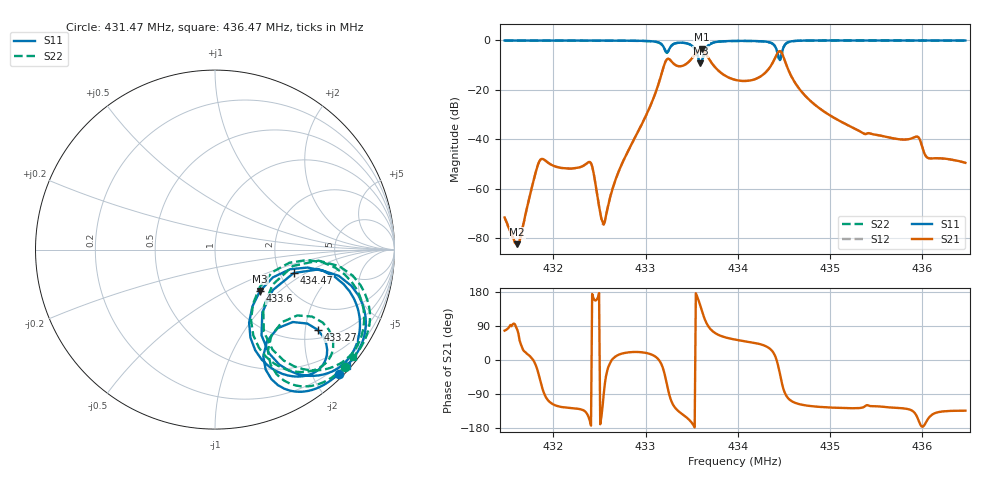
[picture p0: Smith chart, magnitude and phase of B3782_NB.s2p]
! Matrix data file written by TouchstoneData, EPCOS AG
! FILENAME: "newformat_B3782_SB.s2p"
! COMMENT: "INPUT PIN2; OUTPUT PIN5;  9 Dec 2005 S11-KEI"
! INFO: nport=2, nfreq=401
! DATE: "Wed Sep 19 15:44:20 2012"
! USER: "Wilfried Schott"
! port | pin | signal
!  1  |  2  |  IN
!  2  |  5  |  OUT
# MHZ S MA R 50
! freq  magS11 angS11  magS21 angS21  magS12 angS12  magS22 angS22
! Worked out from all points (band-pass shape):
!   401 points, 431.47 MHz to 436.47 MHz, reference 50 ohm
!   highest |S21| = -3.82 dB at 433.61 MHz (marker M1); lowest = -82.6 dB at 431.61 MHz (marker M2)
!   |S21| within 3 dB of the highest: 433.5153 MHz to 433.673 MHz (157.7 kHz wide, 0.0364 % of centre); 434.4102 MHz to 434.4962 MHz (85.92 kHz wide, 0.0198 % of centre)
!   lowest |S11| = -9.4 dB at 433.6 MHz (marker M3), VSWR 2.03, Z = 71.9 - j37.5 ohm
!   |S11| at or under -10 dB: nowhere
!   |S22| runs from -9.8 to -0.2 dB; largest |S21 - S12| = 0.0014
!   S11 on the Smith chart (normalised r, x): 431.47 MHz: 0.08, -2.40; 433.27 MHz: 1.24, -2.33; 433.6 MHz: 1.44, -0.75; 434.47 MHz: 2.38, -0.79; 436.47 MHz: 0.09, -2.64
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431.47  0.9779 -45.2  0.0002612 77.6  0.000255 77.2  0.9756 -42.0
431.6075  0.9776 -45.4  7.438e-05 79.9  6.863e-05 76.1  0.9755 -42.2
431.8575  0.9734 -45.9  0.00382 -55.1  0.003816 -54.9  0.9713 -42.6
432.3075  0.9754 -47.1  0.002784 -131.1  0.00279 -130.6  0.973 -43.8
432.4075  0.9726 -47.4  0.003252 -173.1  0.003253 -173.1  0.9703 -44.3
432.545  0.9736 -48.0  0.0001876 -91.2  0.0001876 -92.1  0.971 -44.8
432.7075  0.972 -49.2  0.002211 13.9  0.002206 14.2  0.9691 -46.0
433.145  0.8886 -62.1  0.1387 -0.3  0.1386 -0.1  0.8811 -59.2
433.27  0.7251 -38.0  0.3892 -102.2  0.3887 -102.1  0.7246 -34.1
433.4825  0.812 -59.8  0.3854 -160.3  0.3852 -160.1  0.8107 -56.9
433.595  0.3405 -42.6  0.6431 142.6  0.6426 142.7  0.3252 -39.9
433.6075  0.358 -25.6  0.6444 132.7  0.6436 132.8  0.343 -21.5
433.7075  0.8465 -21.3  0.3639 80.6  0.3632 80.7  0.843 -17.4
433.97  0.959 -37.5  0.1574 53.9  0.1571 54.1  0.9571 -34.1
434.37  0.8608 -54.5  0.3251 24.7  0.3247 24.9  0.8573 -51.6
434.47  0.4575 -16.6  0.5841 -51.0  0.5831 -50.9  0.4441 -11.8
434.545  0.9017 -22.4  0.2596 -100.5  0.2591 -100.4  0.8959 -18.5
434.8075  0.9778 -35.5  0.05484 -122.0  0.05474 -121.8  0.9758 -32.0
435.645  0.9794 -40.2  0.01073 -125.0  0.0107 -124.9  0.9775 -36.7
435.945  0.9754 -40.9  0.01122 -149.7  0.0112 -149.5  0.9733 -37.5
436.07  0.9776 -40.8  0.004117 -153.6  0.004107 -153.3  0.9755 -37.3
436.47  0.9782 -41.4  0.003308 -133.8  0.003313 -133.6  0.9762 -38.0
